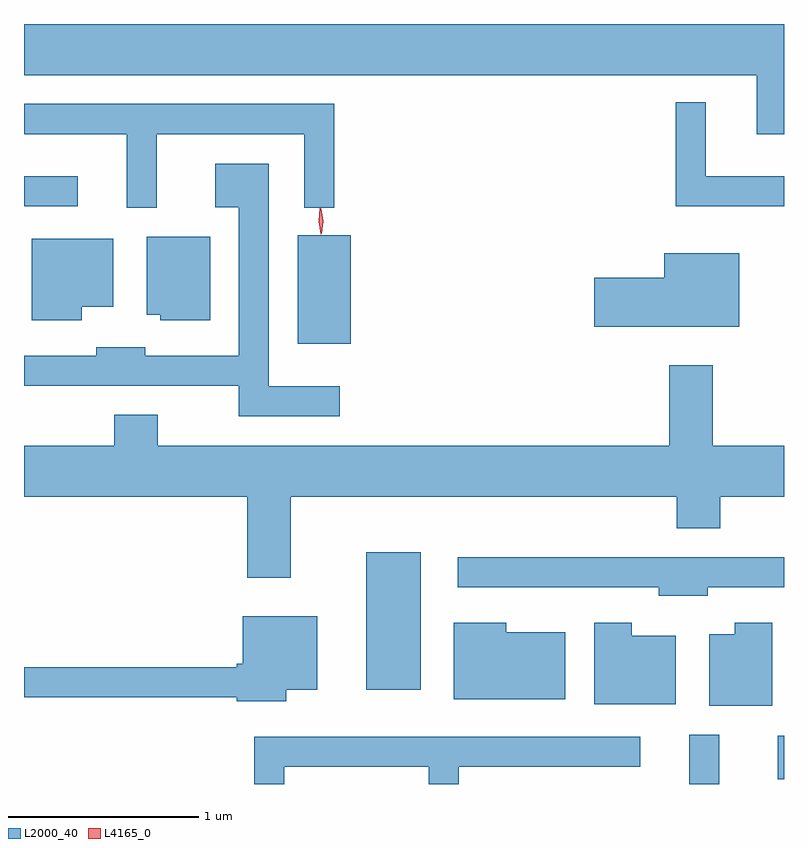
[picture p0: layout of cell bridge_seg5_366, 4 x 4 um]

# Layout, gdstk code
import gdstk
lib = gdstk.Library(unit=1e-6, precision=1e-09)
def R(c, l, rs):  # rectangles x0, y0, x1, y1
    for r in rs: c.add(gdstk.rectangle(r[:2], r[2:], *l))
def P(c, l, *ps):  # polygons
    for p in ps: c.add(gdstk.Polygon(p, *l))
L2000_40 = (2000, 40)
L4165_0 = (4165, 0)

bridge_seg5_366 = lib.new_cell('bridge_seg5_366')
R(bridge_seg5_366, L2000_40, [(548.796,1484.145,548.954,1484.403), (549.261,1484.171,549.295,1484.399), (547.096,1484.641,547.384,1485.364), (546.736,1486.461,547.014,1487.034), (545.295,1487.186,545.578,1487.344)])
P(bridge_seg5_366, L2000_40, [(546.211,1488.145),(546.211,1488.144),(545.295,1488.144),(545.295,1487.876),(549.151,1487.876),(549.151,1487.566),(549.295,1487.566),(549.295,1488.144),(547.979,1488.144),(547.979,1488.145),(547.751,1488.145),(547.751,1488.144),(546.439,1488.144),(546.439,1488.145)],
  [(549.295,1487.344),(548.884,1487.344),(548.884,1487.733),(548.726,1487.733),(548.726,1487.186),(549.295,1487.186)],
  [(545.994,1487.566),(546.771,1487.566),(546.771,1487.178),(546.929,1487.178),(546.929,1487.724),(545.295,1487.724),(545.295,1487.566),(545.836,1487.566),(545.836,1487.178),(545.994,1487.178)],
  [(546.958,1486.239),(546.584,1486.239),(546.584,1487.409),(546.301,1487.409),(546.301,1487.181),(546.426,1487.181),(546.426,1486.399),(545.934,1486.399),(545.934,1486.444),(545.676,1486.444),(545.676,1486.399),(545.295,1486.399),(545.295,1486.241),(546.426,1486.241),(546.426,1486.081),(546.958,1486.081)],
  [(546.274,1487.024),(545.941,1487.024),(545.941,1486.616),(546.011,1486.616),(546.011,1486.586),(546.274,1486.586)],
  [(545.599,1486.656),(545.764,1486.656),(545.764,1487.014),(545.336,1487.014),(545.336,1486.586),(545.599,1486.586)],
  [(549.059,1486.939),(548.666,1486.939),(548.666,1486.809),(548.296,1486.809),(548.296,1486.551),(549.059,1486.551)],
  [(546.699,1485.656),(548.731,1485.656),(548.731,1485.491),(548.959,1485.491),(548.959,1485.656),(549.295,1485.656),(549.295,1485.924),(548.919,1485.924),(548.919,1486.349),(548.691,1486.349),(548.691,1485.924),(545.999,1485.924),(545.999,1486.089),(545.771,1486.089),(545.771,1485.924),(545.295,1485.924),(545.295,1485.656),(546.471,1485.656),(546.471,1485.231),(546.699,1485.231)],
  [(548.894,1485.181),(549.295,1485.181),(549.295,1485.339),(547.578,1485.339),(547.578,1485.181),(548.636,1485.181),(548.636,1485.136),(548.894,1485.136)],
  [(546.674,1484.641),(546.839,1484.641),(546.839,1485.029),(546.446,1485.029),(546.446,1484.779),(546.416,1484.779),(546.416,1484.759),(545.295,1484.759),(545.295,1484.601),(546.416,1484.601),(546.416,1484.581),(546.674,1484.581)],
  [(548.144,1484.944),(547.834,1484.944),(547.834,1484.994),(547.556,1484.994),(547.556,1484.591),(548.144,1484.591)],
  [(548.724,1484.924),(548.494,1484.924),(548.494,1484.994),(548.296,1484.994),(548.296,1484.566),(548.724,1484.566)],
  [(549.234,1484.994),(549.036,1484.994),(549.036,1484.934),(548.901,1484.934),(548.901,1484.556),(549.234,1484.556)],
  [(546.664,1484.236),(547.426,1484.236),(547.426,1484.145),(547.584,1484.145),(547.584,1484.236),(548.538,1484.236),(548.538,1484.394),(546.506,1484.394),(546.506,1484.145),(546.664,1484.145)])
P(bridge_seg5_366, L4165_0, [(546.857,1487.038),(546.857,1487.038),(546.845,1487.106),(546.852,1487.175),(546.853,1487.176),(546.854,1487.175),(546.865,1487.107),(546.858,1487.038)],
  [(546.86,1487.041),(546.85,1487.106),(546.858,1487.172),(546.858,1487.172),(546.859,1487.172),(546.87,1487.107),(546.861,1487.041),(546.861,1487.041)])

lib.write_gds('bridge_seg5_366.gds')
